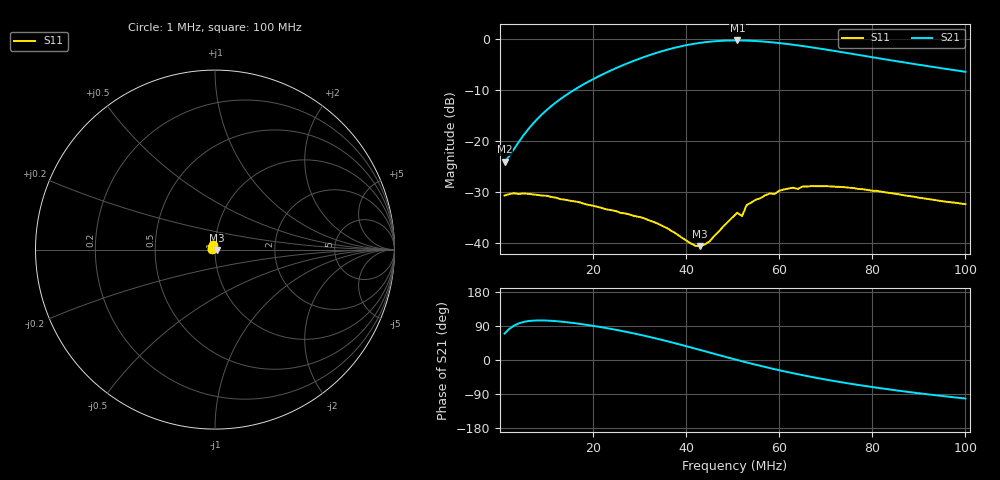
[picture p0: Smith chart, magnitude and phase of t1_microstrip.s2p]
# HZ S RI R 50
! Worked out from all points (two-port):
!   100 points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, 1 MHz to 100 MHz, reference 50 ohm
!   highest |S21| = -0.33 dB at 51 MHz (marker M1); lowest = -24.1 dB at 1 MHz (marker M2)
!   |S21| within 3 dB of the highest: 31.72 MHz to 78.15 MHz (46.43 MHz wide, 84.5 % of centre)
!   lowest |S11| = -40.6 dB at 43 MHz (marker M3), VSWR 1.02, Z = 50.9 - j0.174 ohm
!   |S11| at or under -10 dB: start of sweep to end of sweep
!   S12 and S22 are empty: the file has one direction only
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1000001  -0.0102 0.0274  0.0215 0.0587  0 0  0 0
6000001  -0.0072 0.0295  -0.0282 0.1259  0 0  0 0
9000001  -0.00527 0.0287  -0.0452 0.1758  0 0  0 0
1.8e7  -0.00148 0.0242  -0.0245 0.358  0 0  0 0
2.6e7  0.000836 0.0197  0.1212 0.527  0 0  0 0
3e7  0.00273 0.0178  0.2518 0.587  0 0  0 0
3.4e7  0.00525 0.0145  0.4182 0.606  0 0  0 0
3.9e7  0.00879 0.00719  0.6501 0.5407  0 0  0 0
4.3e7  0.00918 -0.00171  0.8161 0.4068  0 0  0 0
4.5e7  0.0076 -0.00703  0.8795 0.3164  0 0  0 0
4.7e7  0.00465 -0.0121  0.9263 0.2156  0 0  0 0
5.1e7  -0.00469 -0.0193  0.9622 -0.000484  0 0  0 0
5.2e7  -0.00503 -0.0177  0.9597 -0.0555  0 0  0 0
5.3e7  -0.0105 -0.021  0.9526 -0.106  0 0  0 0
5.7e7  -0.0216 -0.02  0.8872 -0.296  0 0  0 0
5.9e7  -0.025 -0.0171  0.8366 -0.3765  0 0  0 0
6.1e7  -0.0299 -0.015  0.7787 -0.444  0 0  0 0
6.7e7  -0.0358 -0.00488  0.5837 -0.5803  0 0  0 0
7.4e7  -0.0349 0.00469  0.3658 -0.6343  0 0  0 0
8.4e7  -0.0288 0.011  0.1254 -0.6028  0 0  0 0
9.2e7  -0.0244 0.0116  -0.00633 -0.5389  0 0  0 0
1e8  -0.0216 0.0107  -0.0962 -0.4651  0 0  0 0
